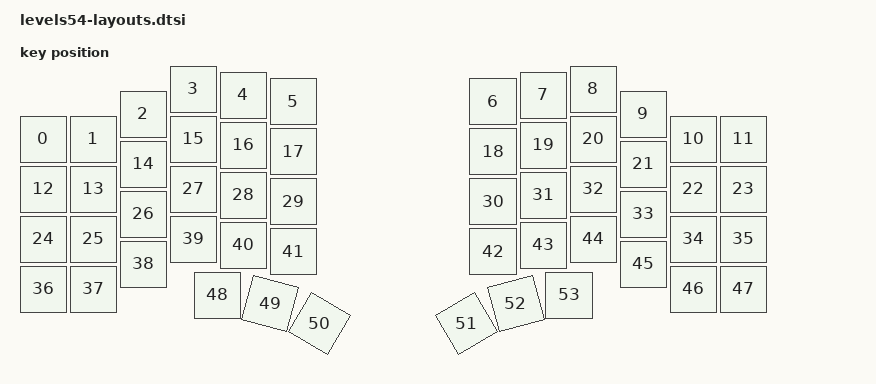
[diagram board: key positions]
/*
 * Copyright (c) 2025 Vincent Franco
 * SPDX-License-Identifier: MIT
 */

#include <physical_layouts.dtsi>

/ {
  physical_layout0: physical_layout0 {
    compatible = "zmk,physical-layout";
    display-name = "Default Layout";

    keys  //                   w   h    x    y     rot    rx    ry
      = <&key_physical_attrs 100 100    0  100       0     0     0>
      , <&key_physical_attrs 100 100  100  100       0     0     0>
      , <&key_physical_attrs 100 100  200   50       0     0     0>
      , <&key_physical_attrs 100 100  300    0       0     0     0>
      , <&key_physical_attrs 100 100  400   12       0     0     0>
      , <&key_physical_attrs 100 100  500   25       0     0     0>
      , <&key_physical_attrs 100 100  900   25       0     0     0>
      , <&key_physical_attrs 100 100 1000   12       0     0     0>
      , <&key_physical_attrs 100 100 1100    0       0     0     0>
      , <&key_physical_attrs 100 100 1200   50       0     0     0>
      , <&key_physical_attrs 100 100 1300  100       0     0     0>
      , <&key_physical_attrs 100 100 1400  100       0     0     0>
      , <&key_physical_attrs 100 100    0  200       0     0     0>
      , <&key_physical_attrs 100 100  100  200       0     0     0>
      , <&key_physical_attrs 100 100  200  150       0     0     0>
      , <&key_physical_attrs 100 100  300  100       0     0     0>
      , <&key_physical_attrs 100 100  400  112       0     0     0>
      , <&key_physical_attrs 100 100  500  125       0     0     0>
      , <&key_physical_attrs 100 100  900  125       0     0     0>
      , <&key_physical_attrs 100 100 1000  112       0     0     0>
      , <&key_physical_attrs 100 100 1100  100       0     0     0>
      , <&key_physical_attrs 100 100 1200  150       0     0     0>
      , <&key_physical_attrs 100 100 1300  200       0     0     0>
      , <&key_physical_attrs 100 100 1400  200       0     0     0>
      , <&key_physical_attrs 100 100    0  300       0     0     0>
      , <&key_physical_attrs 100 100  100  300       0     0     0>
      , <&key_physical_attrs 100 100  200  250       0     0     0>
      , <&key_physical_attrs 100 100  300  200       0     0     0>
      , <&key_physical_attrs 100 100  400  212       0     0     0>
      , <&key_physical_attrs 100 100  500  225       0     0     0>
      , <&key_physical_attrs 100 100  900  225       0     0     0>
      , <&key_physical_attrs 100 100 1000  212       0     0     0>
      , <&key_physical_attrs 100 100 1100  200       0     0     0>
      , <&key_physical_attrs 100 100 1200  250       0     0     0>
      , <&key_physical_attrs 100 100 1300  300       0     0     0>
      , <&key_physical_attrs 100 100 1400  300       0     0     0>
      , <&key_physical_attrs 100 100    0  400       0     0     0>
      , <&key_physical_attrs 100 100  100  400       0     0     0>
      , <&key_physical_attrs 100 100  200  350       0     0     0>
      , <&key_physical_attrs 100 100  300  300       0     0     0>
      , <&key_physical_attrs 100 100  400  312       0     0     0>
      , <&key_physical_attrs 100 100  500  325       0     0     0>
      , <&key_physical_attrs 100 100  900  325       0     0     0>
      , <&key_physical_attrs 100 100 1000  312       0     0     0>
      , <&key_physical_attrs 100 100 1100  300       0     0     0>
      , <&key_physical_attrs 100 100 1200  350       0     0     0>
      , <&key_physical_attrs 100 100 1300  400       0     0     0>
      , <&key_physical_attrs 100 100 1400  400       0     0     0>
      , <&key_physical_attrs 100 100  348  412       0     0     0>
      , <&key_physical_attrs 100 100  370  412    1500   398   790>
      , <&key_physical_attrs 100 100  390  403    3000   398   790>
      , <&key_physical_attrs 100 100 1010  403 (-3000)  1102   790>
      , <&key_physical_attrs 100 100 1030  412 (-1500)  1102   790>
      , <&key_physical_attrs 100 100 1052  412       0     0     0>
      ;
  };
};
